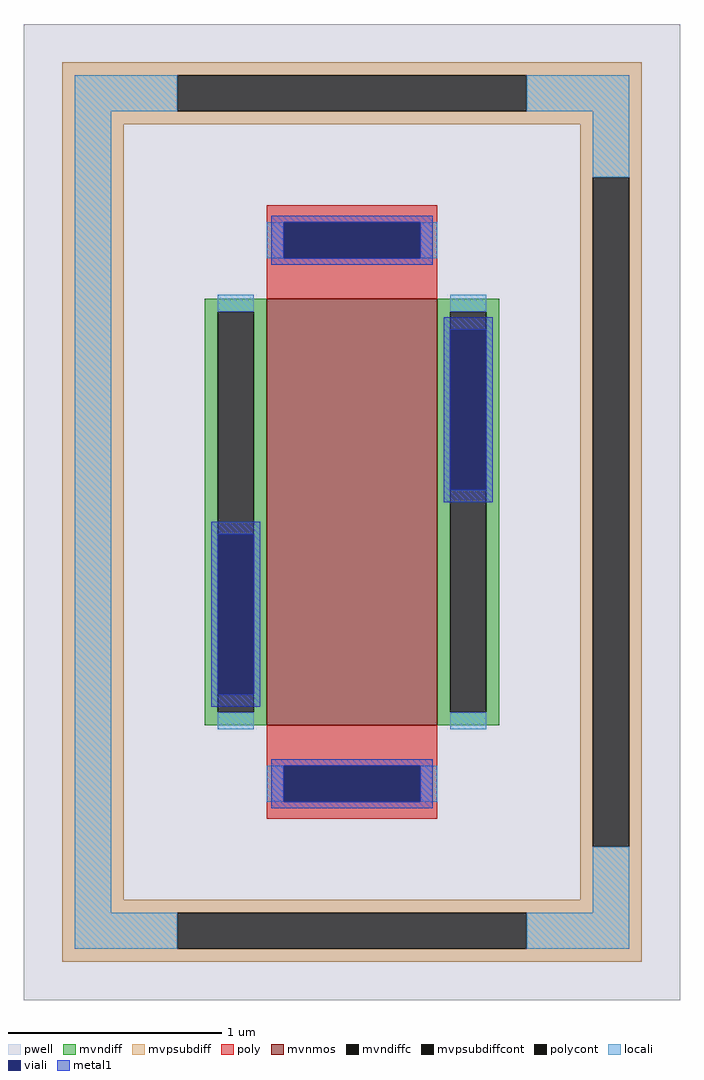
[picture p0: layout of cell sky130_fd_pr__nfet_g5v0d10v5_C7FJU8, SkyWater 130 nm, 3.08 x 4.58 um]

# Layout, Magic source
magic
tech sky130A
magscale 1 2
<< pwell >>
rect -308 -458 308 458
<< mvnmos >>
rect -80 -200 80 200
<< mvndiff >>
rect -138 188 -80 200
rect -138 -188 -126 188
rect -92 -188 -80 188
rect -138 -200 -80 -188
rect 80 188 138 200
rect 80 -188 92 188
rect 126 -188 138 188
rect 80 -200 138 -188
<< mvndiffc >>
rect -126 -188 -92 188
rect 92 -188 126 188
<< mvpsubdiff >>
rect -272 410 272 422
rect -272 376 -164 410
rect 164 376 272 410
rect -272 364 272 376
rect -272 -364 -214 364
rect 214 314 272 364
rect 214 -314 226 314
rect 260 -314 272 314
rect 214 -364 272 -314
rect -272 -376 272 -364
rect -272 -410 -164 -376
rect 164 -410 272 -376
rect -272 -422 272 -410
<< mvpsubdiffcont >>
rect -164 376 164 410
rect 226 -314 260 314
rect -164 -410 164 -376
<< poly >>
rect -80 272 80 288
rect -80 238 -64 272
rect 64 238 80 272
rect -80 200 80 238
rect -80 -238 80 -200
rect -80 -272 -64 -238
rect 64 -272 80 -238
rect -80 -288 80 -272
<< polycont >>
rect -64 238 64 272
rect -64 -272 64 -238
<< locali >>
rect -260 376 -164 410
rect 164 376 260 410
rect -260 -376 -226 376
rect 226 314 260 376
rect -80 238 -64 272
rect 64 238 80 272
rect -126 188 -92 204
rect -126 -204 -92 -188
rect 92 188 126 204
rect 92 -204 126 -188
rect -80 -272 -64 -238
rect 64 -272 80 -238
rect 226 -376 260 -314
rect -260 -410 -164 -376
rect 164 -410 260 -376
<< viali >>
rect -64 238 64 272
rect -126 -171 -92 -21
rect 92 21 126 171
rect -64 -272 64 -238
<< metal1 >>
rect -76 272 76 278
rect -76 238 -64 272
rect 64 238 76 272
rect -76 232 76 238
rect 86 171 132 183
rect 86 21 92 171
rect 126 21 132 171
rect 86 9 132 21
rect -132 -21 -86 -9
rect -132 -171 -126 -21
rect -92 -171 -86 -21
rect -132 -183 -86 -171
rect -76 -238 76 -232
rect -76 -272 -64 -238
rect 64 -272 76 -238
rect -76 -278 76 -272
<< properties >>
string gencell sky130_fd_pr__nfet_g5v0d10v5
string FIXED_BBOX -243 -393 243 393
string parameters w 2.00 l 0.80 m 1 nf 1 diffcov 100 polycov 100 guard 1 glc 0 grc 1 gtc 1 gbc 1 tbcov 100 rlcov 100 topc 1 botc 1 poverlap 0 doverlap 1 lmin 0.50 wmin 0.42 compatible {sky130_fd_pr__nfet_01v8 sky130_fd_pr__nfet_01v8_lvt  sky130_fd_bs_flash__special_sonosfet_star  sky130_fd_pr__nfet_g5v0d10v5 sky130_fd_pr__nfet_05v0_nvt  sky130_fd_pr__nfet_03v3_nvt} full_metal 1 viasrc -40 viadrn +40 viagate 100 viagb 0 viagr 0 viagl 0 viagt 0
string library sky130
<< end >>
